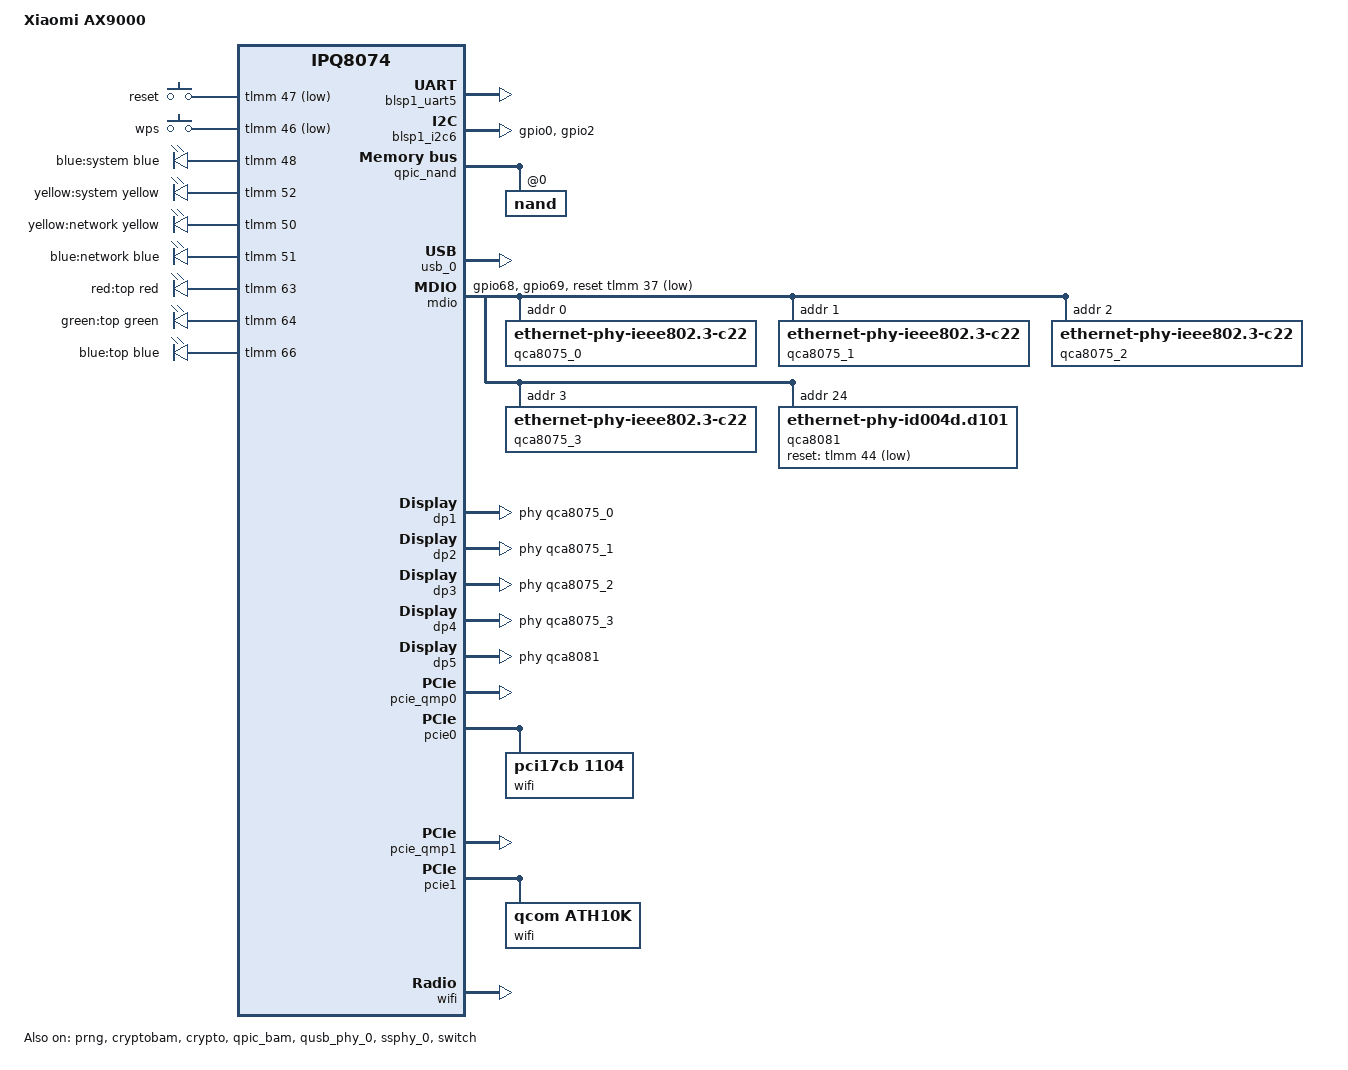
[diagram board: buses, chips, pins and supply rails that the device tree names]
// SPDX-License-Identifier: GPL-2.0-or-later OR MIT
/* Copyright (c) 2021, Robert Marko <robimarko@gmail.com> */

/dts-v1/;

#include "ipq8074.dtsi"
#include "ipq8074-hk-cpu.dtsi"
#include "ipq8074-ess.dtsi"
#include "ipq8074-nss.dtsi"
#include <dt-bindings/gpio/gpio.h>
#include <dt-bindings/input/input.h>
#include <dt-bindings/leds/common.h>

/ {
	model = "Xiaomi AX9000";
	compatible = "xiaomi,ax9000", "qcom,ipq8074";

	aliases {
		serial0 = &blsp1_uart5;
		led-boot = &led_system_yellow;
		led-failsafe = &led_system_yellow;
		led-running = &led_system_blue;
		led-upgrade = &led_system_yellow;
		label-mac-device = &dp5;

		ethernet0 = &dp1;
		ethernet1 = &dp2;
		ethernet2 = &dp3;
		ethernet3 = &dp4;
		ethernet4 = &dp5;
	};

	chosen {
		stdout-path = "serial0:115200n8";
		bootargs-append = " root=/dev/ubiblock0_1";
	};

	keys {
		compatible = "gpio-keys";

		reset {
			label = "reset";
			gpios = <&tlmm 47 GPIO_ACTIVE_LOW>;
			linux,code = <KEY_RESTART>;
		};

		wps {
			label = "wps";
			gpios = <&tlmm 46 GPIO_ACTIVE_LOW>;
			linux,code = <KEY_WPS_BUTTON>;
		};
	};

	leds {
		compatible = "gpio-leds";

		led_system_blue: system-blue {
			label = "blue:system";
			gpios = <&tlmm 48 GPIO_ACTIVE_HIGH>;
			color = <LED_COLOR_ID_BLUE>;
		};

		led_system_yellow: system-yellow {
			label = "yellow:system";
			gpios = <&tlmm 52 GPIO_ACTIVE_HIGH>;
			color = <LED_COLOR_ID_YELLOW>;
		};

		network-yellow {
			label = "yellow:network";
			gpios = <&tlmm 50 GPIO_ACTIVE_HIGH>;
			color = <LED_COLOR_ID_YELLOW>;
		};

		network-blue {
			label = "blue:network";
			gpios = <&tlmm 51 GPIO_ACTIVE_HIGH>;
			color = <LED_COLOR_ID_BLUE>;
		};

		top-red {
			label = "red:top";
			gpios = <&tlmm 63 GPIO_ACTIVE_HIGH>;
			color = <LED_COLOR_ID_RED>;
			default-state = "keep";
		};

		top-green {
			label = "green:top";
			gpios = <&tlmm 64 GPIO_ACTIVE_HIGH>;
			color = <LED_COLOR_ID_GREEN>;
			default-state = "keep";
		};

		top-blue {
			label = "blue:top";
			gpios = <&tlmm 66 GPIO_ACTIVE_HIGH>;
			color = <LED_COLOR_ID_BLUE>;
			default-state = "keep";
		};
	};
};

&tlmm {
	mdio_pins: mdio-pins {
		mdc {
			pins = "gpio68";
			function = "mdc";
			drive-strength = <8>;
			bias-pull-up;
		};

		mdio {
			pins = "gpio69";
			function = "mdio";
			drive-strength = <8>;
			bias-pull-up;
		};
	};

	i2c_pins: i2c-pins {
		pins = "gpio0", "gpio2";
		function = "blsp5_i2c";
		drive-strength = <8>;
		bias-disable;
	};
};

&blsp1_uart5 {
	status = "okay";
};

&blsp1_i2c6 {
	status = "okay";

	pinctrl-0 = <&i2c_pins>;
	pinctrl-names = "default";
};

&prng {
	status = "okay";
};

&cryptobam {
	status = "okay";
};

&crypto {
	status = "okay";
};

&qpic_bam {
	status = "okay";
};

&qpic_nand {
	status = "okay";

	nand@0 {
		reg = <0>;
		nand-ecc-strength = <4>;
		nand-ecc-step-size = <512>;
		nand-bus-width = <8>;

		partitions {
			compatible = "qcom,smem-part";
		};
	};
};

&qusb_phy_0 {
	status = "okay";
};

&ssphy_0 {
	status = "okay";
};

&usb_0 {
	status = "okay";
};

&mdio {
	status = "okay";

	pinctrl-0 = <&mdio_pins>;
	pinctrl-names = "default";
	reset-gpios = <&tlmm 37 GPIO_ACTIVE_LOW>;

	qca8075_0: ethernet-phy@0 {
		compatible = "ethernet-phy-ieee802.3-c22";
		reg = <0>;
	};

	qca8075_1: ethernet-phy@1 {
		compatible = "ethernet-phy-ieee802.3-c22";
		reg = <1>;
	};

	qca8075_2: ethernet-phy@2 {
		compatible = "ethernet-phy-ieee802.3-c22";
		reg = <2>;
	};

	qca8075_3: ethernet-phy@3 {
		compatible = "ethernet-phy-ieee802.3-c22";
		reg = <3>;
	};

	qca8081: ethernet-phy@24 {
		compatible = "ethernet-phy-id004d.d101";
		reg = <24>;
		reset-gpios = <&tlmm 44 GPIO_ACTIVE_LOW>;
	};
};

&switch {
	status = "okay";

	switch_cpu_bmp = <0x1>;  /* cpu port bitmap */
	switch_lan_bmp = <0x1e>; /* lan port bitmap */
	switch_wan_bmp = <0x20>; /* wan port bitmap */
	switch_mac_mode = <0xb>; /* mac mode for uniphy instance0*/
	switch_mac_mode1 = <0xc>; /* mac mode for uniphy instance1*/
	switch_mac_mode2 = <0xff>; /* mac mode for uniphy instance2*/
	bm_tick_mode = <0>; /* bm tick mode */
	tm_tick_mode = <0>; /* tm tick mode */

	qcom,port_phyinfo {
		port@0 {
			port_id = <1>;
			phy_address = <0>;
		};
		port@1 {
			port_id = <2>;
			phy_address = <1>;
		};
		port@2 {
			port_id = <3>;
			phy_address = <2>;
		};
		port@3 {
			port_id = <4>;
			phy_address = <3>;
		};
		port@4 {
			port_id = <5>;
			phy_address = <24>;
			port_mac_sel = "QGMAC_PORT";
		};
	};
};

&edma {
	status = "okay";
};

&dp1 {
	status = "okay";
	phy-handle = <&qca8075_0>;
	label = "lan4";
};

&dp2 {
	status = "okay";
	phy-handle = <&qca8075_1>;
	label = "lan3";
};

&dp3 {
	status = "okay";
	phy-handle = <&qca8075_2>;
	label = "lan2";
};

&dp4 {
	status = "okay";
	phy-handle = <&qca8075_3>;
	label = "lan1";
};

&dp5 {
	status = "okay";
	phy-handle = <&qca8081>;
	label = "wan";
};

&pcie_qmp0 {
	status = "okay";
};

&pcie0 {
	status = "okay";

	perst-gpio = <&tlmm 58 GPIO_ACTIVE_LOW>;

	bridge@0,0 {
		reg = <0x00000000 0 0 0 0>;
		#address-cells = <3>;
		#size-cells = <2>;
		ranges;

		wifi@1,0 {
			status = "okay";

			compatible = "pci17cb,1104";
			reg = <0x00010000 0 0 0 0>;

			qcom,ath11k-calibration-variant = "Xiaomi-AX9000";
		};
	};
};

&pcie_qmp1 {
	status = "okay";
};

&pcie1 {
	status = "okay";

	perst-gpio = <&tlmm 62 GPIO_ACTIVE_HIGH>;

	bridge@1,0 {
		reg = <0x00010000 0 0 0 0>;
		#address-cells = <3>;
		#size-cells = <2>;
		ranges;

		wifi@1,0 {
			status = "okay";

			compatible = "qcom,ath10k";
			reg = <0x00010000 0 0 0 0>;

			qcom,ath10k-calibration-variant = "Xiaomi-AX9000";
		};
	};
};

&wifi {
	status = "okay";

	qcom,ath11k-calibration-variant = "Xiaomi-AX9000";
};
